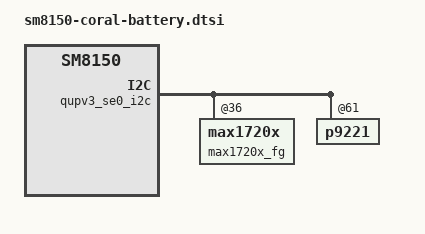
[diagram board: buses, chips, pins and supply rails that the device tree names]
/* Copyright (c) 2017-2018, The Linux Foundation. All rights reserved.
 *
 * This program is free software; you can redistribute it and/or modify
 * it under the terms of the GNU General Public License version 2 and
 * only version 2 as published by the Free Software Foundation.
 *
 * This program is distributed in the hope that it will be useful,
 * but WITHOUT ANY WARRANTY; without even the implied warranty of
 * MERCHANTABILITY or FITNESS FOR A PARTICULAR PURPOSE.  See the
 * GNU General Public License for more details.
 */

&qupv3_se0_i2c {
	status = "ok";
	max1720x_fg: max1720x@36 { };

	p9221: p9221@61 { };
};

#include "sm8150-floral-battery.dtsi"
#include "sm8150-floral-wcharger.dtsi"

&google_battery {
	google,chg-battery-default-capacity = <3712>;
};

&max1720x_fg {
	google,cap-tsettle = <24>;
	google,cap-filt-length = <12>;

	maxim,n_regval_1730x_ver_por = /bits/ 8 <0xcc 0x01>;
	maxim,n_regval_1730x_ver = /bits/ 8 <0xcc 0x00>;
	maxim,n_regval_1730x =  /bits/ 16 <
		0xD1 0x4BF6	/* nTPrtTh1 */
		0xD2 0x782a	/* nTPrtTh3 */
		0xD6 0x4029	/* nProtMiscTh */
		0xDC 0x34C9	/* nDelayCfg */
	>;

	maxim,n_regval_1720x_ver_por = /bits/ 8 <0xd4 0x01>;
	maxim,n_regval_1720x_ver = /bits/ 8 <0xd4 0x01>;
	maxim,n_regval_1720x =  /bits/ 16 <
		0x9C 0x0380	/* nIChgTerm Register */
		0x9D 0x0EB4	/* nFilterCfg Register */
		0x9F 0x2606	/* nLearnCfg Register */
		0xB0 0x7217	/* nConfig Register */
		0xB3 0x0E80	/* nDesignCap Register */
		0xB5 0x9C01	/* nPackCfg Register */
		0xB7 0x33C1	/* nConvgCfg Register */
		0xB8 0xCDF0	/* nNVCfg0 Register */
		0xB9 0xB00E	/* nNVCfg1 Register */
		0xBA 0xFF0A	/* nNVCfg2 Register */
		0xC0 0xFF00	/* nVAlrtTh Register */
		0xC1 0x7F80	/* nTAlrtTh Register */
		0xC2 0xFF00	/* nSAlrtTh Register */
		0xC6 0x5A05	/* nFullSOCThr Register */
		0xD5 0x307D	/* nRFastVShdn Register */
	>;
};

&soc {
	google,overheat_mitigation {
		google,begin-mitigation-temp = <500>;
		google,end-mitigation-temp = <400>;
	};
};

&p9221 {
	q_value = <59>;
	fod = [B2 23 8D 2D 90 29 BF CD B4 C2 A6 2C 0D 12 9A 12];
	fod_epp = [B0 24 90 40 88 50 88 53 90 4A 9E D6 12 12 9A 12];
};
